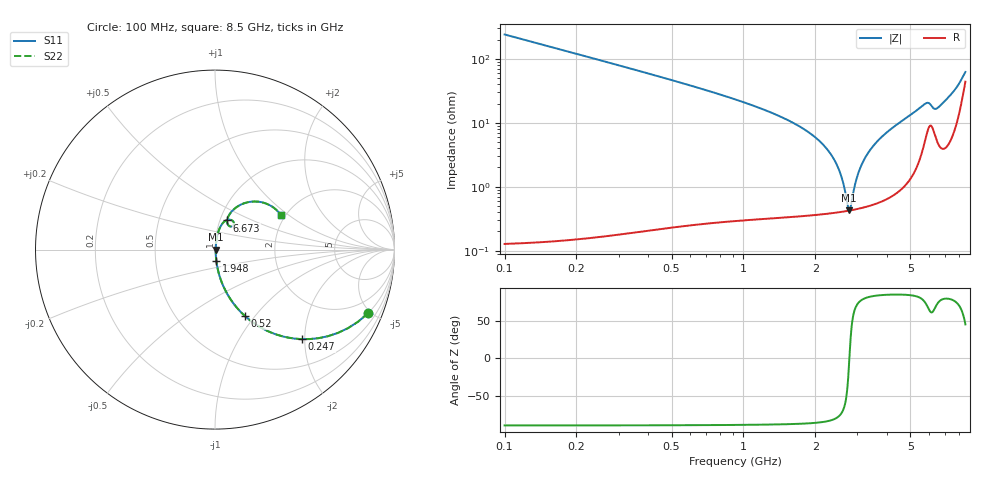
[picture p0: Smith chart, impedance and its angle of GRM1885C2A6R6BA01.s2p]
!Murata Part Number: GRM1885C2A6R6BA01
!These Parameters are Measured in Series Mode Connection
!Data Generated on Mar 30, 2021
!  o--ll--o
!Port1  Port2
!  o------o
!Operation Temp=25[degC], DC Bias Voltage=0[V]
!Freq. Start=100[MHz] Stop=9[GHz] 401[Steps]
# Hz S RI R 50
!Freq.(Hz) S11(Real) S11(Imag) S21(Real) S21(Imag) S12(Real) S12(Imag) S22(Real) S22(Imag)
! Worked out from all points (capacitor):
!   401 points, 100 MHz to 8.5 GHz, reference 50 ohm
!   read as one part in series: C = 6.6 pF near 142 MHz
!   lowest |Z| = 428 mohm at 2.767 GHz (marker M1)
!   series resonance near 2.777 GHz, so ESL is about 500 pH
!   S11 on the Smith chart (normalised r, x): 100 MHz: 1.00, -4.82; 247 MHz: 1.00, -1.94; 520 MHz: 1.00, -0.89; 1.948 GHz: 1.01, -0.13; 6.673 GHz: 1.08, +0.36; 8.5 GHz: 1.88, +0.89
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1e8  0.8528 -0.3541  0.1472 0.3541  0.1472 0.3541  0.8528 -0.3541
2.47e8  0.4838 -0.4989  0.5162 0.4989  0.5162 0.4989  0.4838 -0.4989
3.73e8  0.2875 -0.451  0.7125 0.451  0.7125 0.451  0.2875 -0.451
5.2e8  0.1679 -0.3712  0.8321 0.3712  0.8321 0.3712  0.1679 -0.3712
8.56e8  0.0634 -0.2382  0.9366 0.2382  0.9366 0.2382  0.0634 -0.2382
1.507e9  0.0159 -0.1116  0.9841 0.1116  0.9841 0.1116  0.0159 -0.1116
1.948e9  0.00758 -0.0632  0.9924 0.0632  0.9924 0.0632  0.00758 -0.0632
2.452e9  0.00441 -0.0221  0.9956 0.0221  0.9956 0.0221  0.00441 -0.0221
2.599e9  0.00418 -0.0118  0.9958 0.0118  0.9958 0.0118  0.00418 -0.0118
2.767e9  0.0042 -0.000675  0.9958 0.000675  0.9958 0.000675  0.0042 -0.000675
2.809e9  0.00425 0.00202  0.9957 -0.00202  0.9957 -0.00202  0.00425 0.00202
2.914e9  0.00444 0.00862  0.9956 -0.00862  0.9956 -0.00862  0.00444 0.00862
3.082e9  0.00492 0.0188  0.9951 -0.0188  0.9951 -0.0188  0.00492 0.0188
3.355e9  0.00617 0.0347  0.9938 -0.0347  0.9938 -0.0347  0.00617 0.0347
3.754e9  0.00899 0.0568  0.991 -0.0568  0.991 -0.0568  0.00899 0.0568
4.3e9  0.0151 0.0863  0.9849 -0.0863  0.9849 -0.0863  0.0151 0.0863
5.707e9  0.0735 0.1664  0.9265 -0.1664  0.9265 -0.1664  0.0735 0.1664
6.316e9  0.081 0.1302  0.919 -0.1302  0.919 -0.1302  0.081 0.1302
6.673e9  0.0679 0.1624  0.9321 -0.1624  0.9321 -0.1624  0.0679 0.1624
7.114e9  0.0865 0.2044  0.9135 -0.2044  0.9135 -0.2044  0.0865 0.2044
8.038e9  0.2227 0.2681  0.7773 -0.2681  0.7773 -0.2681  0.2227 0.2681
8.5e9  0.3653 0.1955  0.6347 -0.1955  0.6347 -0.1955  0.3653 0.1955
